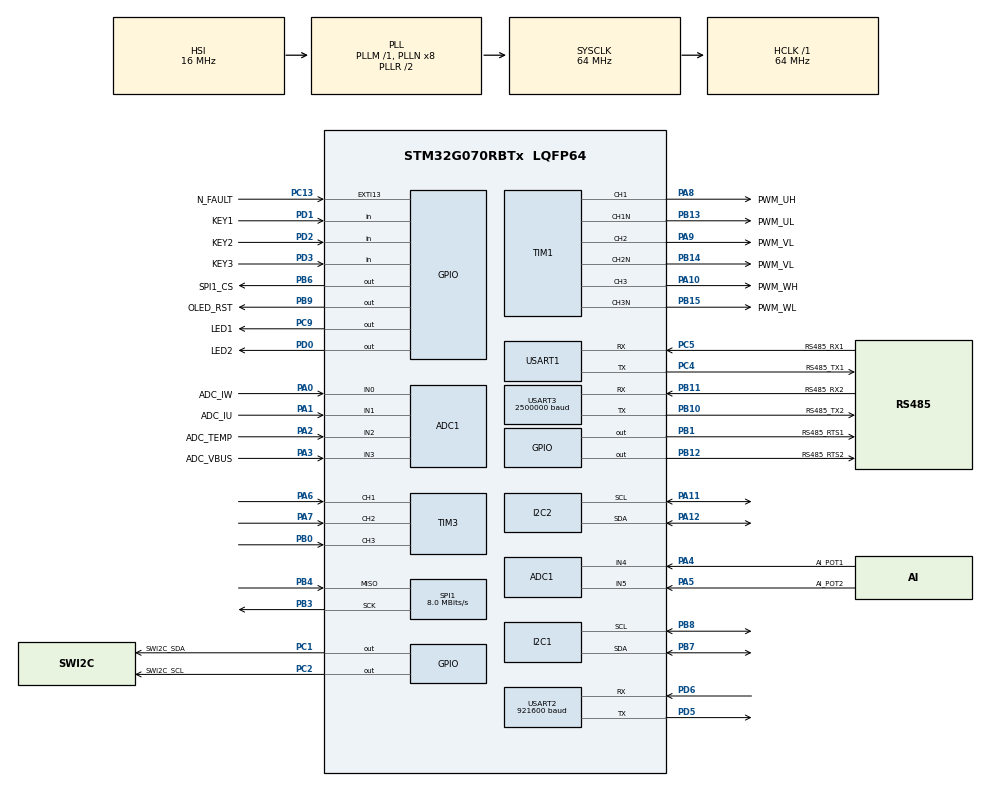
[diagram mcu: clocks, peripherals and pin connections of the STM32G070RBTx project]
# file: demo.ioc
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ADC1.Channel-0\#ChannelRegularConversion=ADC_CHANNEL_0
ADC1.Channel-1\#ChannelRegularConversion=ADC_CHANNEL_1
ADC1.Channel-2\#ChannelRegularConversion=ADC_CHANNEL_2
ADC1.Channel-3\#ChannelRegularConversion=ADC_CHANNEL_3
ADC1.Channel-4\#ChannelRegularConversion=ADC_CHANNEL_4
ADC1.Channel-5\#ChannelRegularConversion=ADC_CHANNEL_5
ADC1.ContinuousConvMode=DISABLE
ADC1.DMAContinuousRequests=ENABLE
ADC1.DiscontinuousConvMode=DISABLE
ADC1.EOCSelection=ADC_EOC_SEQ_CONV
ADC1.EnableAnalogWatchDog1=true
ADC1.ExternalTrigConv=ADC_EXTERNALTRIG_T1_TRGO2
ADC1.ExternalTrigConvEdge=ADC_EXTERNALTRIGCONVEDGE_RISINGFALLING
ADC1.NbrOfConversion=6
ADC1.NbrOfConversionFlag=1
ADC1.Overrun=ADC_OVR_DATA_OVERWRITTEN
ADC1.OversamplingMode=DISABLE
ADC1.Rank-0\#ChannelRegularConversion=1
ADC1.Rank-1\#ChannelRegularConversion=2
ADC1.Rank-2\#ChannelRegularConversion=3
ADC1.Rank-3\#ChannelRegularConversion=4
ADC1.Rank-4\#ChannelRegularConversion=5
ADC1.Rank-5\#ChannelRegularConversion=6
ADC1.SamplingTime-0\#ChannelRegularConversion=ADC_SAMPLINGTIME_COMMON_2
ADC1.SamplingTime-1\#ChannelRegularConversion=ADC_SAMPLINGTIME_COMMON_2
ADC1.SamplingTime-2\#ChannelRegularConversion=ADC_SAMPLINGTIME_COMMON_2
ADC1.SamplingTime-3\#ChannelRegularConversion=ADC_SAMPLINGTIME_COMMON_2
ADC1.SamplingTime-4\#ChannelRegularConversion=ADC_SAMPLINGTIME_COMMON_2
ADC1.SamplingTime-5\#ChannelRegularConversion=ADC_SAMPLINGTIME_COMMON_2
ADC1.SamplingTimeCommon1=ADC_SAMPLETIME_3CYCLES_5
ADC1.SamplingTimeCommon2=ADC_SAMPLETIME_3CYCLES_5
ADC1.SelectedChannel=ADC_CHANNEL_0|ADC_CHANNEL_1|ADC_CHANNEL_2|ADC_CHANNEL_3|ADC_CHANNEL_4|ADC_CHANNEL_5
ADC1.master=1
CRC.CRCLength=CRC_POLYLENGTH_16B
CRC.DefaultInitValueUse=DEFAULT_INIT_VALUE_DISABLE
CRC.DefaultPolynomialUse=DEFAULT_POLYNOMIAL_DISABLE
CRC.GeneratingPolynomial=X15+X2+X0
CRC.InitValue=0xFFFF
CRC.InputDataInversionMode=CRC_INPUTDATA_INVERSION_BYTE
CRC.OutputDataInversionMode=CRC_OUTPUTDATA_INVERSION_ENABLE
Dma.ADC1.0.Direction=DMA_PERIPH_TO_MEMORY
Dma.ADC1.0.EventEnable=DISABLE
Dma.ADC1.0.Instance=DMA1_Channel1
Dma.ADC1.0.MemDataAlignment=DMA_MDATAALIGN_HALFWORD
Dma.ADC1.0.MemInc=DMA_MINC_ENABLE
Dma.ADC1.0.Mode=DMA_CIRCULAR
Dma.ADC1.0.PeriphDataAlignment=DMA_PDATAALIGN_HALFWORD
Dma.ADC1.0.PeriphInc=DMA_PINC_DISABLE
Dma.ADC1.0.Polarity=HAL_DMAMUX_REQ_GEN_RISING
Dma.ADC1.0.Priority=DMA_PRIORITY_LOW
Dma.ADC1.0.RequestNumber=1
Dma.ADC1.0.SignalID=NONE
Dma.ADC1.0.SyncEnable=DISABLE
Dma.ADC1.0.SyncPolarity=HAL_DMAMUX_SYNC_NO_EVENT
Dma.ADC1.0.SyncRequestNumber=1
Dma.ADC1.0.SyncSignalID=NONE
Dma.I2C1_TX.4.Direction=DMA_MEMORY_TO_PERIPH
Dma.I2C1_TX.4.EventEnable=DISABLE
Dma.I2C1_TX.4.Instance=DMA1_Channel2
Dma.I2C1_TX.4.MemDataAlignment=DMA_MDATAALIGN_BYTE
Dma.I2C1_TX.4.MemInc=DMA_MINC_ENABLE
Dma.I2C1_TX.4.Mode=DMA_NORMAL
Dma.I2C1_TX.4.PeriphDataAlignment=DMA_PDATAALIGN_BYTE
Dma.I2C1_TX.4.PeriphInc=DMA_PINC_DISABLE
Dma.I2C1_TX.4.Polarity=HAL_DMAMUX_REQ_GEN_RISING
Dma.I2C1_TX.4.Priority=DMA_PRIORITY_LOW
Dma.I2C1_TX.4.RequestNumber=1
Dma.I2C1_TX.4.SignalID=NONE
Dma.I2C1_TX.4.SyncEnable=DISABLE
Dma.I2C1_TX.4.SyncPolarity=HAL_DMAMUX_SYNC_NO_EVENT
Dma.I2C1_TX.4.SyncRequestNumber=1
Dma.I2C1_TX.4.SyncSignalID=NONE
Dma.Request0=ADC1
Dma.Request1=USART3_RX
Dma.Request2=USART2_RX
Dma.Request3=USART2_TX
Dma.Request4=I2C1_TX
Dma.USART2_RX.2.Direction=DMA_PERIPH_TO_MEMORY
Dma.USART2_RX.2.EventEnable=DISABLE
Dma.USART2_RX.2.Instance=DMA1_Channel5
Dma.USART2_RX.2.MemDataAlignment=DMA_MDATAALIGN_BYTE
Dma.USART2_RX.2.MemInc=DMA_MINC_ENABLE
Dma.USART2_RX.2.Mode=DMA_NORMAL
Dma.USART2_RX.2.PeriphDataAlignment=DMA_PDATAALIGN_BYTE
Dma.USART2_RX.2.PeriphInc=DMA_PINC_DISABLE
Dma.USART2_RX.2.Polarity=HAL_DMAMUX_REQ_GEN_RISING
Dma.USART2_RX.2.Priority=DMA_PRIORITY_LOW
Dma.USART2_RX.2.RequestNumber=1
Dma.USART2_RX.2.SignalID=NONE
Dma.USART2_RX.2.SyncEnable=DISABLE
Dma.USART2_RX.2.SyncPolarity=HAL_DMAMUX_SYNC_NO_EVENT
Dma.USART2_RX.2.SyncRequestNumber=1
Dma.USART2_RX.2.SyncSignalID=NONE
Dma.USART2_TX.3.Direction=DMA_MEMORY_TO_PERIPH
Dma.USART2_TX.3.EventEnable=DISABLE
Dma.USART2_TX.3.Instance=DMA1_Channel6
Dma.USART2_TX.3.MemDataAlignment=DMA_MDATAALIGN_BYTE
Dma.USART2_TX.3.MemInc=DMA_MINC_ENABLE
Dma.USART2_TX.3.Mode=DMA_NORMAL
Dma.USART2_TX.3.PeriphDataAlignment=DMA_PDATAALIGN_BYTE
Dma.USART2_TX.3.PeriphInc=DMA_PINC_DISABLE
Dma.USART2_TX.3.Polarity=HAL_DMAMUX_REQ_GEN_RISING
Dma.USART2_TX.3.Priority=DMA_PRIORITY_LOW
Dma.USART2_TX.3.RequestNumber=1
Dma.USART2_TX.3.SignalID=NONE
Dma.USART2_TX.3.SyncEnable=DISABLE
Dma.USART2_TX.3.SyncPolarity=HAL_DMAMUX_SYNC_NO_EVENT
Dma.USART2_TX.3.SyncRequestNumber=1
Dma.USART2_TX.3.SyncSignalID=NONE
Dma.USART3_RX.1.Direction=DMA_PERIPH_TO_MEMORY
Dma.USART3_RX.1.EventEnable=DISABLE
Dma.USART3_RX.1.Instance=DMA1_Channel4
Dma.USART3_RX.1.MemDataAlignment=DMA_MDATAALIGN_BYTE
Dma.USART3_RX.1.MemInc=DMA_MINC_ENABLE
Dma.USART3_RX.1.Mode=DMA_NORMAL
Dma.USART3_RX.1.PeriphDataAlignment=DMA_PDATAALIGN_BYTE
Dma.USART3_RX.1.PeriphInc=DMA_PINC_DISABLE
Dma.USART3_RX.1.Polarity=HAL_DMAMUX_REQ_GEN_RISING
Dma.USART3_RX.1.Priority=DMA_PRIORITY_LOW
Dma.USART3_RX.1.RequestNumber=1
Dma.USART3_RX.1.SignalID=NONE
Dma.USART3_RX.1.SyncEnable=DISABLE
Dma.USART3_RX.1.SyncPolarity=HAL_DMAMUX_SYNC_NO_EVENT
Dma.USART3_RX.1.SyncRequestNumber=1
Dma.USART3_RX.1.SyncSignalID=NONE
I2C1.Timing=0x10707DBC
I2C2.Timing=0x10707DBC
Mcu.Family=STM32G0
Mcu.Name=STM32G070RBTx
Mcu.Package=LQFP64
Mcu.UserConstants=I2C_OLED,hi2c1;TIM_HALL,htim3;UART_TFORMAT,huart3;TIM_PERIOD,8000
NVIC.ADC1_IRQn=true\:0\:0\:false\:false\:true\:true\:true\:true
NVIC.DMA1_Ch4_7_DMAMUX1_OVR_IRQn=true\:0\:0\:false\:false\:true\:false\:true\:true
NVIC.DMA1_Channel1_IRQn=true\:0\:0\:false\:false\:true\:false\:true\:true
NVIC.DMA1_Channel2_3_IRQn=true\:0\:0\:false\:false\:true\:false\:true\:true
NVIC.TIM14_IRQn=true\:0\:0\:false\:false\:true\:true\:true\:true
NVIC.USART1_IRQn=true\:0\:0\:false\:false\:true\:true\:true\:true
NVIC.USART2_IRQn=true\:0\:0\:false\:false\:true\:true\:true\:true
NVIC.USART3_4_IRQn=true\:0\:0\:false\:false\:true\:true\:true\:true
PA0.GPIO_Label=ADC_IW
PA0.Mode=IN0
PA0.Signal=ADC1_IN0
PA1.GPIO_Label=ADC_IU
PA1.Mode=IN1
PA1.Signal=ADC1_IN1
PA10.GPIO_Label=PWM_WH
PA10.GPIO_PuPd=GPIO_NOPULL
PA10.GPIO_Speed=GPIO_SPEED_FREQ_VERY_HIGH
PA10.Signal=S_TIM1_CH3
PA11\ [PA9].Mode=I2C
PA11\ [PA9].Signal=I2C2_SCL
PA12\ [PA10].Mode=I2C
PA12\ [PA10].Signal=I2C2_SDA
PA13.Mode=Serial_Wire
PA13.Signal=SYS_SWDIO
PA14-BOOT0.Mode=Serial_Wire
PA14-BOOT0.Signal=SYS_SWCLK
PA2.GPIO_Label=ADC_TEMP
PA2.Mode=IN2
PA2.Signal=ADC1_IN2
PA3.GPIO_Label=ADC_VBUS
PA3.Mode=IN3
PA3.Signal=ADC1_IN3
PA4.GPIO_Label=AI_POT1
PA4.Mode=IN4
PA4.Signal=ADC1_IN4
PA5.GPIO_Label=AI_POT2
PA5.Mode=IN5
PA5.Signal=ADC1_IN5
PA6.Signal=S_TIM3_CH1
PA7.Signal=S_TIM3_CH2
PA8.GPIO_Label=PWM_UH
PA8.GPIO_PuPd=GPIO_NOPULL
PA8.GPIO_Speed=GPIO_SPEED_FREQ_VERY_HIGH
PA8.Signal=S_TIM1_CH1
PA9.GPIO_Label=PWM_VL
PA9.GPIO_PuPd=GPIO_NOPULL
PA9.GPIO_Speed=GPIO_SPEED_FREQ_VERY_HIGH
PA9.Signal=S_TIM1_CH2
PB0.Signal=S_TIM3_CH3
PB1.GPIO_Label=RS485_RTS1
PB1.GPIO_ModeDefaultOutputPP=GPIO_MODE_OUTPUT_PP
PB1.GPIO_PuPd=GPIO_PULLUP
PB1.GPIO_Speed=GPIO_SPEED_FREQ_VERY_HIGH
PB1.PinState=GPIO_PIN_RESET
PB1.Signal=GPIO_Output
PB10.GPIO_Label=RS485_TX2
PB10.Mode=Asynchronous
PB10.Signal=USART3_TX
PB11.GPIO_Label=RS485_RX2
PB11.Mode=Asynchronous
PB11.Signal=USART3_RX
PB12.GPIO_Label=RS485_RTS2
PB12.GPIO_ModeDefaultOutputPP=GPIO_MODE_OUTPUT_PP
PB12.GPIO_PuPd=GPIO_PULLUP
PB12.GPIO_Speed=GPIO_SPEED_FREQ_VERY_HIGH
PB12.PinState=GPIO_PIN_RESET
PB12.Signal=GPIO_Output
PB13.GPIO_Label=PWM_UL
PB13.GPIO_Speed=GPIO_SPEED_FREQ_VERY_HIGH
PB13.Mode=PWM Generation1 CH1 CH1N
PB13.Signal=TIM1_CH1N
PB14.GPIO_Label=PWM_VL
PB14.GPIO_Speed=GPIO_SPEED_FREQ_VERY_HIGH
PB14.Mode=PWM Generation2 CH2 CH2N
PB14.Signal=TIM1_CH2N
PB15.GPIO_Label=PWM_WL
PB15.GPIO_Speed=GPIO_SPEED_FREQ_VERY_HIGH
PB15.Mode=PWM Generation3 CH3 CH3N
PB15.Signal=TIM1_CH3N
PB3.GPIO_PuPd=GPIO_PULLUP
PB3.GPIO_Speed=GPIO_SPEED_FREQ_VERY_HIGH
PB3.Mode=RX_Only_Simplex_Unidirect_Master
PB3.Signal=SPI1_SCK
PB4.GPIO_PuPd=GPIO_PULLUP
PB4.GPIO_Speed=GPIO_SPEED_FREQ_VERY_HIGH
PB4.Mode=RX_Only_Simplex_Unidirect_Master
PB4.Signal=SPI1_MISO
PB5.Signal=SPI1_MOSI
PB6.GPIO_Label=SPI1_CS
PB6.Signal=GPIO_Output
PB7.GPIO_Pu=GPIO_PULLUP
PB7.GPIO_Speed=GPIO_SPEED_FREQ_VERY_HIGH
PB7.Mode=I2C
PB7.Signal=I2C1_SDA
PB8.GPIO_Pu=GPIO_PULLUP
PB8.GPIO_Speed=GPIO_SPEED_FREQ_VERY_HIGH
PB8.Mode=I2C
PB8.Signal=I2C1_SCL
PB9.GPIO_Label=OLED_RST
PB9.GPIO_ModeDefaultOutputPP=GPIO_MODE_OUTPUT_PP
PB9.GPIO_PuPd=GPIO_PULLUP
PB9.GPIO_Speed=GPIO_SPEED_FREQ_VERY_HIGH
PB9.PinState=GPIO_PIN_RESET
PB9.Signal=GPIO_Output
PC1.GPIO_Label=SWI2C_SDA
PC1.GPIO_ModeDefaultOutputPP=GPIO_MODE_OUTPUT_OD
PC1.GPIO_PuPd=GPIO_PULLUP
PC1.GPIO_Speed=GPIO_SPEED_FREQ_VERY_HIGH
PC1.Signal=GPIO_Output
PC13.GPIO_Label=N_FAULT
PC13.GPIO_ModeDefaultEXTI=GPIO_MODE_IT_FALLING
PC13.GPIO_PuPd=GPIO_PULLUP
PC13.Signal=GPXTI13
PC2.GPIO_Label=SWI2C_SCL
PC2.GPIO_ModeDefaultOutputPP=GPIO_MODE_OUTPUT_OD
PC2.GPIO_PuPd=GPIO_PULLUP
PC2.GPIO_Speed=GPIO_SPEED_FREQ_VERY_HIGH
PC2.Signal=GPIO_Output
PC4.GPIO_Label=RS485_TX1
PC4.Mode=Asynchronous
PC4.Signal=USART1_TX
PC5.GPIO_Label=RS485_RX1
PC5.Mode=Asynchronous
PC5.Signal=USART1_RX
PC9.GPIO_Label=LED1
PC9.GPIO_ModeDefaultOutputPP=GPIO_MODE_OUTPUT_PP
PC9.GPIO_PuPd=GPIO_PULLUP
PC9.GPIO_Speed=GPIO_SPEED_FREQ_VERY_HIGH
PC9.PinState=GPIO_PIN_RESET
PC9.Signal=GPIO_Output
PD0.GPIO_Label=LED2
PD0.GPIO_ModeDefaultOutputPP=GPIO_MODE_OUTPUT_PP
PD0.GPIO_PuPd=GPIO_PULLUP
PD0.GPIO_Speed=GPIO_SPEED_FREQ_VERY_HIGH
PD0.PinState=GPIO_PIN_RESET
PD0.Signal=GPIO_Output
PD1.GPIO_Label=KEY1
PD1.GPIO_Mode=GPIO_MODE_INPUT
PD1.GPIO_PuPd=GPIO_PULLUP
PD1.Signal=GPIO_Input
PD2.GPIO_Label=KEY2
PD2.GPIO_Mode=GPIO_MODE_INPUT
PD2.GPIO_PuPd=GPIO_PULLUP
PD2.Signal=GPIO_Input
PD3.GPIO_Label=KEY3
PD3.GPIO_Mode=GPIO_MODE_INPUT
PD3.GPIO_PuPd=GPIO_PULLUP
PD3.Signal=GPIO_Input
PD5.Mode=Asynchronous
PD5.Signal=USART2_TX
PD6.Mode=Asynchronous
PD6.Signal=USART2_RX
PF0-OSC_IN\ (PF0).Mode=HSE-External-Oscillator
PF0-OSC_IN\ (PF0).Signal=RCC_OSC_IN
PF1-OSC_OUT\ (PF1).Mode=HSE-External-Oscillator
PF1-OSC_OUT\ (PF1).Signal=RCC_OSC_OUT
ProjectManager.HeapSize=0x800
ProjectManager.StackSize=0x800
ProjectManager.TargetToolchain=MDK-ARM V5
RCC.ADCFreq_Value=64000000
RCC.AHBFreq_Value=64000000
RCC.CortexFreq_Value=64000000
RCC.EXTERNAL_CLOCK_VALUE=48000
RCC.HCLKFreq_Value=64000000
RCC.HSE_VALUE=8000000
RCC.HSI_VALUE=16000000
RCC.LSE_VALUE=32768
RCC.SYSCLKFreq_VALUE=64000000
RCC.SYSCLKSource=RCC_SYSCLKSOURCE_PLLCLK
RCC.VCOOutputFreq_Value=128000000
SH.S_TIM1_CH1.0=TIM1_CH1,PWM Generation1 CH1 CH1N
SH.S_TIM1_CH2.0=TIM1_CH2,PWM Generation2 CH2 CH2N
SH.S_TIM1_CH3.0=TIM1_CH3,PWM Generation3 CH3 CH3N
SH.S_TIM3_CH1.0=TIM3_CH1,Xored_Inputs_Hall_Sensor_Interface
SH.S_TIM3_CH2.0=TIM3_CH2,Xored_Inputs_Hall_Sensor_Interface
SH.S_TIM3_CH3.0=TIM3_CH3,Xored_Inputs_Hall_Sensor_Interface
SPI1.BaudRatePrescaler=SPI_BAUDRATEPRESCALER_8
SPI1.CLKPhase=SPI_PHASE_2EDGE
SPI1.CLKPolarity=SPI_POLARITY_LOW
SPI1.CalculateBaudRate=8.0 MBits/s
SPI1.DataSize=SPI_DATASIZE_8BIT
SPI1.Direction=SPI_DIRECTION_2LINES_RXONLY
SPI1.Mode=SPI_MODE_MASTER
SPI1.VirtualType=VM_MASTER
TIM1.AutoReloadPreload=TIM_AUTORELOAD_PRELOAD_ENABLE
TIM1.BreakState=TIM_BREAK_DISABLE
TIM1.Channel-Output\ Compare4\ No\ Output=TIM_CHANNEL_4
TIM1.Channel-PWM\ Generation1\ CH1\ CH1N=TIM_CHANNEL_1
TIM1.Channel-PWM\ Generation2\ CH2\ CH2N=TIM_CHANNEL_2
TIM1.Channel-PWM\ Generation3\ CH3\ CH3N=TIM_CHANNEL_3
TIM1.CounterMode=TIM_COUNTERMODE_CENTERALIGNED1
TIM1.DeadTime=50
TIM1.OC4Preload=ENABLE
TIM1.OCMode_4=TIM_OCMODE_TIMING
TIM1.Period=64000000/8000/2-1
TIM1.RepetitionCounter=1
TIM1.TIM_MasterOutputTrigger=TIM_TRGO_RESET
TIM1.TIM_MasterOutputTrigger2=TIM_TRGO2_UPDATE
TIM6.Prescaler=64-1
USART1.VirtualMode-Asynchronous=VM_ASYNC
USART2.BaudRate=921600
USART2.VirtualMode-Asynchronous=VM_ASYNC
USART3.BaudRate=2500000
USART3.OverSampling=UART_OVERSAMPLING_16
USART3.VirtualMode-Asynchronous=VM_ASYNC
VP_CRC_VS_CRC.Mode=CRC_Activate
VP_SYS_VS_DBSignals.Mode=DisableDeadBatterySignals
VP_TIM14_VS_ClockSourceINT.Mode=Enable_Timer
VP_TIM1_VS_no_output4.Mode=Output Compare4 No Output
VP_TIM6_VS_ClockSourceINT.Mode=Enable_Timer
board=custom

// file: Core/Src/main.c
/* USER CODE BEGIN Header */
/**
 ******************************************************************************
 * @file           : main.c
 * @brief          : Main program body
 ******************************************************************************
 * @attention
 *
 * Copyright (c) 2024 STMicroelectronics.
 * All rights reserved.
 *
 * This software is licensed under terms that can be found in the LICENSE file
 * in the root directory of this software component.
 * If no LICENSE file comes with this software, it is provided AS-IS.
 *
 ******************************************************************************
 */
/* USER CODE END Header */
#include "main.h"
#include "adc.h"
#include "crc.h"
#include "dma.h"
#include "i2c.h"
#include "spi.h"
#include "tim.h"
#include "usart.h"
#include "gpio.h"

/* USER CODE BEGIN Includes */
#include "gsdk.h"
#include "hwif.h"
#include "flexbtn.h"
#include "i2c_ssd1306.h"
#include "mono_framebuf.h"
#include "paratbl.h"
#include "freemodbus/mb.h"
#include "encoder/encoder.h"
#include "gconf.h"
#include "adconv.h"
#include "pwmctrl.h"
#include "motdrv.h"

#include "pid.h"
#include "drvsche.h"
#include "arm_math.h"
/* USER CODE END Includes */

/* USER CODE BEGIN PTD */

#define __ENC_HALL_SW  1

#define SSD1306_WIDTH  128
#define SSD1306_HEIGHT 32

/* USER CODE END PTD */

/* USER CODE BEGIN PD */
#define LOG_LOCAL_TAG   "main"
#define LOG_LOCAL_LEVEL LOG_LEVEL_VERBOSE

/* USER CODE END PD */

/* USER CODE BEGIN PV */

static void EventCb(flexbtn_t* pHandle, flexbtn_event_e eEvent);
static bool IsPressed(flexbtn_t* pHandle);

typedef enum {
    BUTTON_PREV,
    BUTTON_OKAY,
    BUTTON_NEXT,
} button_id_e;

static pin_t keys[] = {
    {KEY1_PIN},
    {KEY2_PIN},
    {KEY3_PIN},
};

static flexbtn_t flexbtn[3] = {
    {
     .u8ID                         = BUTTON_PREV,
     .u16ShortPressStartTick       = FLEXBTN_MS_TO_SCAN_CNT(1500),
     .u16LongPressStartTick        = FLEXBTN_MS_TO_SCAN_CNT(3000),
     .u16LongHoldStartTick         = FLEXBTN_MS_TO_SCAN_CNT(4500),
     .u16MaxMultipleClicksInterval = FLEXBTN_MS_TO_SCAN_CNT(300),
     .pfnIsPressed                 = IsPressed,
     .pfnEventCb                   = EventCb,
     },

    {
     .u8ID                         = BUTTON_OKAY,
     .u16ShortPressStartTick       = FLEXBTN_MS_TO_SCAN_CNT(1000),
     .u16LongPressStartTick        = FLEXBTN_MS_TO_SCAN_CNT(2000),
     .u16LongHoldStartTick         = FLEXBTN_MS_TO_SCAN_CNT(3000),
     .u16MaxMultipleClicksInterval = FLEXBTN_MS_TO_SCAN_CNT(300),
     .pfnIsPressed                 = IsPressed,
     .pfnEventCb                   = EventCb,
     },

    {
     .u8ID                         = BUTTON_NEXT,
     .u16ShortPressStartTick       = FLEXBTN_MS_TO_SCAN_CNT(1500),
     .u16LongPressStartTick        = FLEXBTN_MS_TO_SCAN_CNT(3000),
     .u16LongHoldStartTick         = FLEXBTN_MS_TO_SCAN_CNT(4500),
     .u16MaxMultipleClicksInterval = FLEXBTN_MS_TO_SCAN_CNT(300),
     .pfnIsPressed                 = IsPressed,
     .pfnEventCb                   = EventCb,
     },
};

//----------

static uint8_t m_au8Framebuf[SSD1306_WIDTH * SSD1306_HEIGHT / 8] = {0};

static mono_framebuf_t fb = {
    .pu8Buffer   = m_au8Framebuf,
    .u16Width    = SSD1306_WIDTH,
    .u16Height   = SSD1306_HEIGHT,
    ._u16CursorX = 0,
    ._u16CursorY = 0,
};

static i2c_mst_t i2c = {
    .SDA  = {OLED091_SDA_PIN},
    .SCL  = {OLED091_SCL_PIN},
    .I2Cx = &hi2c1,
};

static i2c_ssd1306_t ssd1306 = {
    .hI2C      = &i2c,
    .u8SlvAddr = SSD1306_ADDRESS_LOW,
    .u8Cols    = SSD1306_WIDTH,
    .u8Rows    = SSD1306_HEIGHT / 8,
};

static void SSD1306_Reset(void)
{
    DelayBlockMs(20);
    HAL_GPIO_WritePin(OLED091_RST_PIN, GPIO_PIN_RESET);
    DelayBlockMs(20);
    HAL_GPIO_WritePin(OLED091_RST_PIN, GPIO_PIN_SET);
}

//----------

//----------

void ParaTblInit(void);

//----------
#include "encoder/hall_enc.h"
#if __ENC_HALL_SW
static hall_enc_t sHallEnc = {
    .eHallState   = HALL_STATE_0,
    .eDirection   = HALL_DIR_FWD,
    // .u8Placement    = 120,
    .u8PhaseShift = 0,
    .u16ElecAngle = 0,
    .u16EdgeCount = 0,
    .u16HallError = 0,
};
#endif

/* USER CODE END PV */

void SystemClock_Config(void);

/* USER CODE BEGIN 0 */
void HAL_TIM_PeriodElapsedCallback(TIM_HandleTypeDef* htim)
{
}

// #include "encoder/absEnc.h"

// abs_drv_t AbsDrv;
// abs_enc_t AbsEnc;

#define ONE_ADC_VOLTAGE 806  // unit uV
#define AMP_GAIN        11.0

int phase_current_from_adcval(uint32_t ADCValue)
{
    int amp_gain = AMP_GAIN;

    int shunt_conductance = 500;  // 100 means 1 mOh, current sensing resistor

    int amp_out_volt = ONE_ADC_VOLTAGE * ADCValue;
    int shunt_volt   = amp_out_volt / amp_gain;
    int current      = (shunt_volt * 100) / shunt_conductance;  // unit mA
    return current;
}

void HAL_ADC_ConvCpltCallback(ADC_HandleTypeDef* hadc)
{
    return;
    tick_t t = GetTick100ns();

    s16 _Resv100Pre = D._Resv100;
    s16 _Resv101Pre = D._Resv101;

    D._Resv100 = ADConv[0];
    D._Resv101 = ADConv[1];
    D._Resv102 = ADConv[2];
    D._Resv103 = ADConv[3];
    D._Resv104 = ADConv[4];
    D._Resv105 = ADConv[5];

    //    D._Resv104 = GetCurU(AXIS_0);
    //    D._Resv105 = GetCurV(AXIS_0);
    //    D._Resv106 = GetCurW(AXIS_0);

    //    D.s16UaiPu0 = GetUai1();
    //    D.s16UaiPu1 = GetUai2();

    //    D.s16UaiSi0 = GetUai1();
    //    D.s16UaiSi1 = GetUai2();
    //    D.u16UcdcSi = D.u16UmdcSi = GetUai2();
    static int off[2] = {0};
    static int i      = 0;

#define TT 1000
    if (i < TT)
    {
        off[0] += (s16)D._Resv100;
        off[1] += (s16)D._Resv101;
        i++;
    }
    else if (i == TT)
    {
        off[0] /= TT;
        off[1] /= TT;
        i += 1;
    }
    else
    {
        mc_t foc = {0};

        foc.u16ElecAngle = P(0).u16ElecAngleFb;

        foc.Ia = ((D._Resv100 * 70 + _Resv100Pre * 30) / 100 - off[0]);  // mA
        foc.Ib = ((D._Resv101 * 70 + _Resv101Pre * 30) / 100 - off[1]);  // mA
        foc.Ic = -foc.Ia - foc.Ib;

        MC_Clark(&foc);
        MC_SinCos(&foc);
        MC_Park(&foc);

        D._Resv106 = foc.Ia;
        D._Resv107 = foc.Ib;
        D._Resv108 = foc.Ic;
        D._Resv109 = foc.Ialpha;
        D._Resv110 = foc.Ibeta;
        D._Resv111 = foc.Iq;
        D._Resv112 = foc.Id;
        D._Resv113++;  // 中断次数
        DrvScheIsr();
        P(0).s32SpdDigRef04 = GetTick100ns() - t;
    }
}

void MotDrv_Isr(mc_t* pMotDrv, axis_e eAxisNo)
{
    MC_SinCos(pMotDrv);
    MC_InvPark(pMotDrv);

    switch (P(eAxisNo)._Resv519)
    {
        default:
        case 0:
            MC_InvClark(pMotDrv);
            MC_MinMaxU(pMotDrv);
            MC_ZeroSeqInj(pMotDrv);
            break;
        case 1:
            SVPWMx(pMotDrv);
            break;
        case 2:
            svm(pMotDrv);
            break;
        case 3:
            SVGEN_run(pMotDrv, 0);
            break;
    }

    PWM_SetDuty(pMotDrv->Ta, pMotDrv->Tb, pMotDrv->Tc, eAxisNo);

    P(eAxisNo).u16ElecAngleRef = pMotDrv->u16ElecAngle;

    P(eAxisNo).s16Ualpha = pMotDrv->Ualpha;
    P(eAxisNo).s16Ubeta  = pMotDrv->Ubeta;

    P(eAxisNo).s16Ud = pMotDrv->Ud;
    P(eAxisNo).s16Uq = pMotDrv->Uq;

    P(eAxisNo).u16Sector = pMotDrv->eSector;

    P(eAxisNo).u16PwmaComp = pMotDrv->Ta;
    P(eAxisNo).u16PwmbComp = pMotDrv->Tb;
    P(eAxisNo).u16PwmcComp = pMotDrv->Tc;
}

static arm_pid_instance_q15 s_sSpdPi;
static arm_pid_instance_f32 s_sPosPi;
static bool                 s_bSpdInit = true;
static bool                 s_bPosInit = true;

#include "axis.h"
#include "axis_defs.h"

#include "spi_mt6701.h"

spi_mst_t spi = {
    .SPIx = &hspi1,
    .MISO = {GPIOB,             GPIO_PIN_4 }, /* DAT */
    .MOSI = {GPIOB,             GPIO_PIN_4 },
    .SCLK = {GPIOB,             GPIO_PIN_3 }, /* CLK */
    .CS   = {SPI1_CS_GPIO_Port, SPI1_CS_Pin}, /* RST */
};

spi_mt6701_t mt6701 = {
    .hSPI = &spi,
};

/* USER CODE END 0 */

int main(void)
{

    /* MCU Configuration--------------------------------------------------------*/

    /* Reset of all peripherals, Initializes the Flash interface and the Systick. */
    HAL_Init();

    /* USER CODE BEGIN Init */
    SEGGER_RTT_Init();
    //  cm_backtrace_init("demo", "stm32", "V0.01");
    /* USER CODE END Init */

    /* Configure the system clock */
    SystemClock_Config();

    /* Initialize all configured peripherals */
    MX_GPIO_Init();
    MX_DMA_Init();
    MX_ADC1_Init();
    MX_I2C1_Init();
    MX_I2C2_Init();
    MX_TIM1_Init();
    MX_USART1_UART_Init();
    MX_USART3_UART_Init();
    MX_CRC_Init();
    MX_TIM6_Init();
    MX_USART2_UART_Init();
    MX_SPI1_Init();
    MX_TIM3_Init();
    MX_TIM14_Init();
    /* USER CODE BEGIN 2 */
    DelayInit();

    ParaTblInit();

    SPI_Master_Init(&spi, 50000, SPI_DUTYCYCLE_50_50, MT6701_SPI_TIMING | SPI_FLAG_FAST_CLOCK_ENABLE | SPI_FLAG_SOFT_CS);
    MT6701_Init(&mt6701);

#if 0

    I2C_Master_Init(&i2c, 4e6, I2C_DUTYCYCLE_50_50);
    I2C_Master_ScanAddress(&i2c);

    // oled
    SSD1306_Reset();
    SSD1306_Init(&ssd1306);

    MonoFramebuf_FillRectangle(&fb, 10, 10, 20, 20, MONO_COLOR_WHITE);
    MonoFramebuf_FillRectangle(&fb, 20, 20, 20, 20, MONO_COLOR_XOR);
    MonoFramebuf_SetCursor(&fb, 0, 0);
    MonoFramebuf_PutString(&fb, "Servo", &g_Font_Conslons_8x16_CpuFlash, MONO_COLOR_WHITE, MONO_COLOR_BLACK);

    SSD1306_FillBuffer(&ssd1306, MonoFramebuf_GetBuffer(&fb));

#endif

    // key
    for (int i = 0; i < ARRAY_SIZE(flexbtn); ++i)
    {
        PIN_SetMode(&keys[i], PIN_MODE_INPUT_FLOATING, PIN_PULL_UP);
        FlexBtn_Attach(&flexbtn[i]);
    }

    // modbus(rtu)
    RO u8 ucSlaveID[] = {0xAA, 0xBB, 0xCC};
    eMBInit(MB_RTU, D.u16MbSlvId, 1, D.u32MbBaudrate, MB_PAR_EVEN /* P.u16MbParity */);
    eMBSetSlaveID(0x34, true, ucSlaveID, ARRAY_SIZE(ucSlaveID));
    eMBEnable();
    MbRtuRun();

    // hall enc
    HallEnc_Creat(&sHallEnc);
    HallEnc_Init(&sHallEnc);

    // #if __ENC_HALL_SW
    //     HAL_TIM_Base_Start(&TIM_HALL);
    // #elif __ENC_INC_SW
    //     HAL_TIM_Encoder_Start(&htim3, TIM_CHANNEL_1 | TIM_CHANNEL_2);
    // #endif

    DrvScheCreat();
    DrvScheInit();

    // adc
    HAL_ADCEx_Calibration_Start(&hadc1);
    //  HAL_ADC_Start_DMA(&hadc1, (uint32_t*)&ADConv[0], ARRAY_SIZE(ADConv));
    HAL_ADC_Start_DMA(&hadc1, (uint32_t*)&ADConv[0], ARRAY_SIZE(ADConv));

    //	HAL_TIM_Base_Start(&htim1); // TRGO for ADC
    HAL_TIM_OC_Start(&htim1, TIM_CHANNEL_4);  // TRGO for ADC
                                              /* USER CODE END 2 */

    /* Infinite loop */
    /* USER CODE BEGIN WHILE */

    axis_e eAxisNo = AXIS_0;

    sHallEnc.u16EncRes = 6 * P(eAxisNo).u16MotPolePairs;

#if 1  // 2804
    P(eAxisNo).u16MotPolePairs = 7;
    P(eAxisNo).u32EncRes       = (1 << 14);
#else  // hall
    P(eAxisNo).u16MotPolePairs = 2;
    P(eAxisNo).u32EncRes       = 6 * P(eAxisNo).u16MotPolePairs;
#endif

    P(eAxisNo).u32EncPosOffset = 642;

#if 1

    P(eAxisNo).u16AppSel = 0;

//	P(eAxisNo).u32CommCmd = 1;
#endif

    while (1)
    {
        // led
        PeriodicTask(UNIT_S, HAL_GPIO_TogglePin(LED2_PIN));
        PeriodicTask(2 * UNIT_S, D._Resv114 = D._Resv113 / 2; D._Resv113 = 0;);  // 中断次数 Hz

        // key
        PeriodicTask(UNIT_S / CONFIG_FLEXBTN_SCAN_FREQ_HZ, FlexBtn_Cycle());

        // modbus
        eMBPoll();

        //    HallEnc_Isr(&sHallEnc);

        axis_e eAxisNo = AXIS_0;

        // P(eAxisNo).u16HallState  = sHallEnc.eHallState;
        // P(eAxisNo).u32EncRes     = sHallEnc.u16EncRes;
        // P(eAxisNo).u32EncPos     = sHallEnc.u16EncPos;
        // P(eAxisNo).s32EncTurns   = sHallEnc.s32EncTurns;
        // P(eAxisNo).s64EncMultPos = sHallEnc.s64EncMultPos;
        // P(eAxisNo).s32DrvSpdFb   = sHallEnc.s16SpdFb;

        DrvScheCycle();

        P(eAxisNo).s32SpdDigRef01 = P(eAxisNo).s64EncMultPos;

        PeriodicTask(125 * UNIT_US, DrvScheIsr());

        switch (P(eAxisNo).u16AppSel)
        {
            case AXIS_APP_GENERIC:
            {
                if (P(eAxisNo).u16AxisFSM == AXIS_STATE_ENABLE)
                {
                    PeriodicTask(125 * UNIT_US, {
                        mc_t foc = {0};

                        foc.DutyMax = P(eAxisNo).u16PwmDutyMax;
                        // foc.u16ElecAngle = sHallEnc.u16ElecAngle;  // hall

                        foc.u16ElecAngle = P(eAxisNo).u16ElecAngleFb;

                        P(eAxisNo).u16CtrlMode = CTRL_MODE_SPD;

                        switch ((ctrl_mode_e)P(eAxisNo).u16CtrlMode)
                        {
                            case CTRL_MODE_POS:
                            {
                                static PID_t pid = {0};

                                pid.Kp = P(eAxisNo).u16PosLoopKp / 1000.f;
                                pid.Ki = P(eAxisNo).u16PosLoopKi / 1000.f;
                                pid.Kd = P(eAxisNo).u16PosLoopKd / 1000.f;
                                // arm_pid_init_f32(&s_sPosPi, s_bPosInit);

                                s_sSpdPi.Kp = P(eAxisNo).u16SpdLoopKp;
                                s_sSpdPi.Ki = P(eAxisNo).u16SpdLoopKi;
                                s_sSpdPi.Kd = P(eAxisNo).u16SpdLoopKd;
                                arm_pid_init_q15(&s_sSpdPi, s_bSpdInit);

                                s_bSpdInit = s_bPosInit = false;

                                //    q31_t q = arm_pid_f32(&s_sPosPi, -(P(eAxisNo).s32SpdDigRef00 - P(eAxisNo).s64EncMultPos));  // to 0.1rpm

                                pid.ref = P(eAxisNo).s32SpdDigRef00;
                                pid.fbk = P(eAxisNo).s64EncMultPos;
                                pid.Ts  = 125.f / 1e6;
                                PID_Handler_Tustin(&pid);

                                s32 q = pid.out;

                                P(eAxisNo).s32SpdDigRef02 = pid.out;

                                q      = q * 60 * 10 / P(eAxisNo).u32EncRes;
                                foc.Uq = arm_pid_q15(&s_sSpdPi, q - P(eAxisNo).s32DrvSpdFb);

                                foc.Uq = CLAMP(foc.Uq, -10000, 10000);

                                break;
                            }

                            case CTRL_MODE_SPD:
                            {
                                // qdAxis.pdf
                                foc.Uq = P(eAxisNo).s32DrvSpdRef;
                                break;
                            }

                            case CTRL_MODE_TRQ:
                            {
                                break;
                            }

                            default:
                            case CTRL_MODE_DS402:  // Get ElecAngle Offset
                            {
                                break;
                            }
                        }

                        MotDrv_Isr(&foc, eAxisNo);
                    });
                }

                break;
            }

            case AXIS_APP_ENCIDENT:
            {
                PeriodicTask(125 * UNIT_US, {
                    mc_t foc;
                    foc.Uq           = P(eAxisNo).s16Uq;
                    foc.Ud           = P(eAxisNo).s16Ud;
                    foc.DutyMax      = P(eAxisNo).u16PwmDutyMax;
                    foc.u16ElecAngle = P(eAxisNo).u16ElecAngleRef;

                    MotDrv_Isr(&foc, eAxisNo);
                });
                break;
            }
            case AXIS_APP_OPENLOOP:
            {
                if (P(eAxisNo).u16AxisFSM == AXIS_STATE_ENABLE)
                {
                    // P(eAxisNo).u16ElecAngle = P(eAxisNo).s16OpenElecAngInit;

                    PeriodicTask(P(eAxisNo).u16OpenPeriod * UNIT_US, {
                        mc_t foc;

                        foc.Uq = P(eAxisNo).s16OpenUqRef;
                        foc.Ud = P(eAxisNo).s16OpenUdRef;

                        foc.DutyMax = P(eAxisNo).u16PwmDutyMax;

                        P(eAxisNo).s16OpenElecAngInc = 20;
                        foc.u16ElecAngle             = P(eAxisNo).u16ElecAngleRef + P(eAxisNo).s16OpenElecAngInc;

                        MotDrv_Isr(&foc, eAxisNo);

#if 1  // 电角度偏置辨识

                        //  P(eAxisNo)._Resv358 = foc.u16ElecAngle;
                        //   P(eAxisNo)._Resv359 = u16EncPos;
                        //  P(eAxisNo)._Resv360 = u16ElecAng;

                        //  P(eAxisNo)._Resv343 是机械角偏置
                        //  P(eAxisNo)._Resv344 是电角度反馈
                        P(eAxisNo)._Resv361 = P(eAxisNo).u16ElecAngleFb - foc.u16ElecAngle;  // 差值为 65536/u16MotPolePairs 的倍数

                        static uint16_t u16Times = 0;

                        if (P(eAxisNo)._Resv361 > 7000)  // 阈值是手动调整的
                        {
                            P(eAxisNo).u32EncPosOffset += 1;
                            u16Times = 0;

                            if (P(eAxisNo).u32EncPosOffset > P(eAxisNo).u32EncRes)
                            {
                                // 出错 !!
                                P(eAxisNo).u32CommCmd &= ~BV(0);
                            }
                        }
                        else if (++u16Times > 500)
                        {
                            u16Times = 0;  // 已稳定
                            P(eAxisNo).u32CommCmd &= ~BV(0);
                        }

#endif
                    });
                }

                break;
            }

            default:
            {
                // AlmUpdate()
                break;
            }
        }

        /* USER CODE END WHILE */

    }
}

void SystemClock_Config(void)
{
    RCC_OscInitTypeDef RCC_OscInitStruct = {0};
    RCC_ClkInitTypeDef RCC_ClkInitStruct = {0};

    /** Configure the main internal regulator output voltage
     */
    HAL_PWREx_ControlVoltageScaling(PWR_REGULATOR_VOLTAGE_SCALE1);

    /** Initializes the RCC Oscillators according to the specified parameters
     * in the RCC_OscInitTypeDef structure.
     */
    RCC_OscInitStruct.OscillatorType      = RCC_OSCILLATORTYPE_HSI;
    RCC_OscInitStruct.HSIState            = RCC_HSI_ON;
    RCC_OscInitStruct.HSIDiv              = RCC_HSI_DIV1;
    RCC_OscInitStruct.HSICalibrationValue = RCC_HSICALIBRATION_DEFAULT;
    RCC_OscInitStruct.PLL.PLLState        = RCC_PLL_ON;
    RCC_OscInitStruct.PLL.PLLSource       = RCC_PLLSOURCE_HSI;
    RCC_OscInitStruct.PLL.PLLM            = RCC_PLLM_DIV1;
    RCC_OscInitStruct.PLL.PLLN            = 8;
    RCC_OscInitStruct.PLL.PLLP            = RCC_PLLP_DIV2;
    RCC_OscInitStruct.PLL.PLLR            = RCC_PLLR_DIV2;
    if (HAL_RCC_OscConfig(&RCC_OscInitStruct) != HAL_OK)
    {
        Error_Handler();
    }

    /** Initializes the CPU, AHB and APB buses clocks
     */
    RCC_ClkInitStruct.ClockType      = RCC_CLOCKTYPE_HCLK | RCC_CLOCKTYPE_SYSCLK | RCC_CLOCKTYPE_PCLK1;
    RCC_ClkInitStruct.SYSCLKSource   = RCC_SYSCLKSOURCE_PLLCLK;
    RCC_ClkInitStruct.AHBCLKDivider  = RCC_SYSCLK_DIV1;
    RCC_ClkInitStruct.APB1CLKDivider = RCC_HCLK_DIV1;

    if (HAL_RCC_ClockConfig(&RCC_ClkInitStruct, FLASH_LATENCY_2) != HAL_OK)
    {
        Error_Handler();
    }
}

/* USER CODE BEGIN 4 */

static bool IsPressed(flexbtn_t* pHandle)
{
    switch ((button_id_e)(pHandle->u8ID))
    {
        case BUTTON_PREV:
        case BUTTON_OKAY:
        case BUTTON_NEXT:
        {
            return PIN_ReadLevel(&keys[pHandle->u8ID]) == PIN_LEVEL_LOW;
        }

        default:
        {
            LOGW("unknown button id");
            break;
        }
    }

    return false;
}

static void EventCb(flexbtn_t* pHandle, flexbtn_event_e eEvent)
{
    if (flexbtn[BUTTON_NEXT].eEvent == FLEXBTN_EVENT_RELEASE)
    {
        HAL_NVIC_SystemReset();
    }

    if (flexbtn[BUTTON_OKAY].eEvent == FLEXBTN_EVENT_RELEASE)
    {
    }
}

void ParaTblInit(void)
{
    uint16_t* pParaTbl;

    //

    pParaTbl = (uint16_t*)&D;

    for (uint16_t i = 0; i < sizeof(device_para_t) / sizeof(u16); ++i)
    {
        pParaTbl[i] = sDeviceAttr[i].u16InitVal;
    }

    D.u32ChipDevID  = HAL_GetDEVID();
    D.u32ChipRevID  = HAL_GetREVID();
    D.u32ChipUIDw0  = HAL_GetUIDw0();
    D.u32ChipUIDw1  = HAL_GetUIDw1();
    D.u32ChipUIDw2  = HAL_GetUIDw2();
    D.u32HalVersion = HAL_GetHalVersion();

    //

    axis_e eAxisNo = AXIS_0;

    pParaTbl = (uint16_t*)&P(eAxisNo);

    for (uint16_t i = 0; i < sizeof(axis_para_t) / sizeof(u16); ++i)
    {
        pParaTbl[i] = sAxisAttr[i].u16InitVal;
    }

    // TIM freq / Carry freq / 2
    P(eAxisNo).u16PwmDutyMax = 64000000 / P(eAxisNo).u16CarryFreq / 2;
}

/* USER CODE END 4 */

void Error_Handler(void)
{
    __disable_irq();
    while (1)
    {
    }
}
